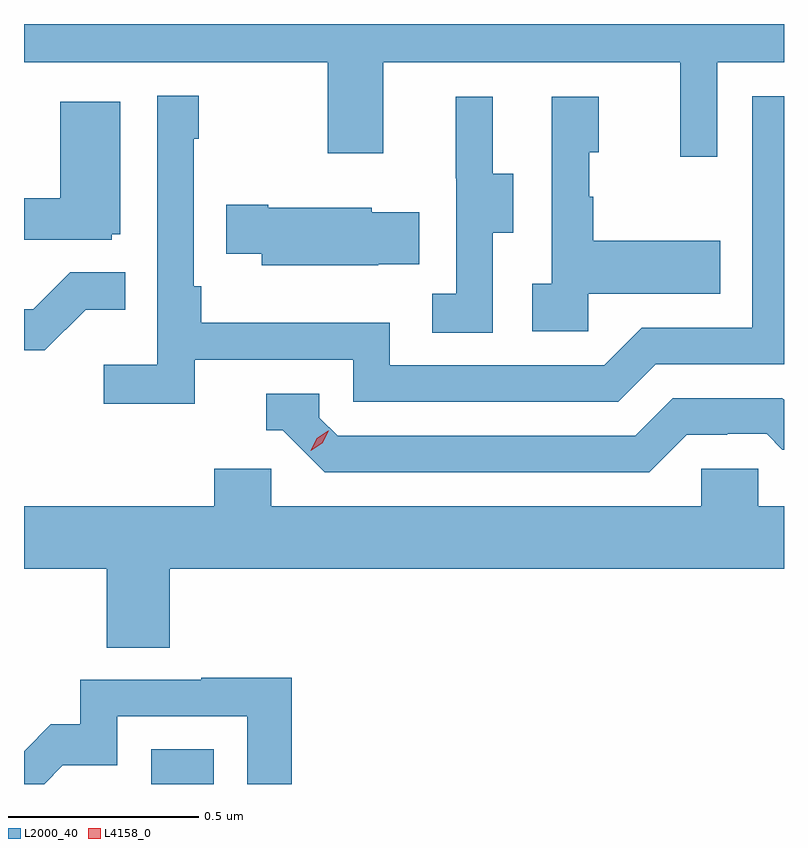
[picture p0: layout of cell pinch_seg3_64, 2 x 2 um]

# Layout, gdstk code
import gdstk
lib = gdstk.Library(unit=1e-6, precision=1e-09)
def R(c, l, rs):  # rectangles x0, y0, x1, y1
    for r in rs: c.add(gdstk.rectangle(r[:2], r[2:], *l))
def P(c, l, *ps):  # polygons
    for p in ps: c.add(gdstk.Polygon(p, *l))
L2000_40 = (2000, 40)
L4158_0 = (4158, 0)

pinch_seg3_64 = lib.new_cell('pinch_seg3_64')
R(pinch_seg3_64, L2000_40, [(1046.702,745.637,1046.866,745.729)])
P(pinch_seg3_64, L2000_40, [(1048.191,747.536),(1048.367,747.536),(1048.367,747.637),(1046.367,747.637),(1046.367,747.536),(1047.166,747.536),(1047.166,747.297),(1047.313,747.297),(1047.313,747.536),(1048.094,747.536),(1048.094,747.288),(1048.191,747.288)],
  [(1046.816,746.754),(1047.234,746.754),(1047.234,746.643),(1047.931,746.643),(1048.03,746.742),(1048.367,746.742),(1048.367,747.447),(1048.284,747.447),(1048.284,746.838),(1047.993,746.838),(1047.894,746.739),(1047.33,746.739),(1047.33,746.851),(1046.834,746.851),(1046.834,746.947),(1046.814,746.947),(1046.814,747.335),(1046.827,747.335),(1046.827,747.448),(1046.718,747.448),(1046.718,746.74),(1046.577,746.74),(1046.577,746.638),(1046.816,746.638)],
  [(1047.6,747.088),(1047.655,747.088),(1047.655,747.243),(1047.601,747.243),(1047.601,747.445),(1047.503,747.445),(1047.503,747.231),(1047.504,747.231),(1047.504,746.927),(1047.441,746.927),(1047.441,746.824),(1047.6,746.824)],
  [(1047.852,746.927),(1048.199,746.927),(1048.199,747.067),(1047.865,747.067),(1047.865,747.182),(1047.855,747.182),(1047.855,747.3),(1047.88,747.3),(1047.88,747.445),(1047.756,747.445),(1047.756,746.954),(1047.705,746.954),(1047.705,746.829),(1047.852,746.829)],
  [(1046.598,747.084),(1046.62,747.084),(1046.62,747.433),(1046.462,747.433),(1046.462,747.178),(1046.367,747.178),(1046.367,747.069),(1046.598,747.069)],
  [(1047.299,747.005),(1047.407,747.005),(1047.407,747.142),(1047.282,747.142),(1047.282,747.154),(1047.01,747.154),(1047.01,747.162),(1046.899,747.162),(1046.899,747.032),(1046.993,747.032),(1046.993,747.002),(1047.299,747.002)],
  [(1046.529,746.885),(1046.633,746.885),(1046.633,746.984),(1046.489,746.984),(1046.391,746.886),(1046.367,746.886),(1046.367,746.778),(1046.422,746.778)],
  [(1048.111,746.556),(1048.218,746.556),(1048.218,746.559),(1048.321,746.559),(1048.363,746.517),(1048.367,746.517),(1048.367,746.648),(1048.363,746.652),(1048.074,746.652),(1047.975,746.553),(1047.192,746.553),(1047.144,746.601),(1047.144,746.664),(1047.005,746.664),(1047.005,746.568),(1047.048,746.568),(1047.159,746.457),(1048.012,746.457)],
  [(1046.75,746.204),(1048.367,746.204),(1048.367,746.368),(1048.299,746.368),(1048.299,746.466),(1048.149,746.466),(1048.149,746.368),(1047.018,746.368),(1047.018,746.466),(1046.867,746.466),(1046.867,746.368),(1046.367,746.368),(1046.367,746.204),(1046.585,746.204),(1046.585,745.996),(1046.75,745.996)],
  [(1046.469,745.686),(1046.613,745.686),(1046.613,745.815),(1046.955,745.815),(1046.955,745.637),(1047.071,745.637),(1047.071,745.916),(1046.833,745.916),(1046.833,745.911),(1046.515,745.911),(1046.515,745.794),(1046.438,745.794),(1046.367,745.723),(1046.367,745.637),(1046.42,745.637)])
P(pinch_seg3_64, L4158_0, [(1047.121,746.514),(1047.121,746.515),(1047.138,746.547),(1047.168,746.567),(1047.169,746.567),(1047.169,746.566),(1047.152,746.534),(1047.122,746.514)])

lib.write_gds('pinch_seg3_64.gds')
